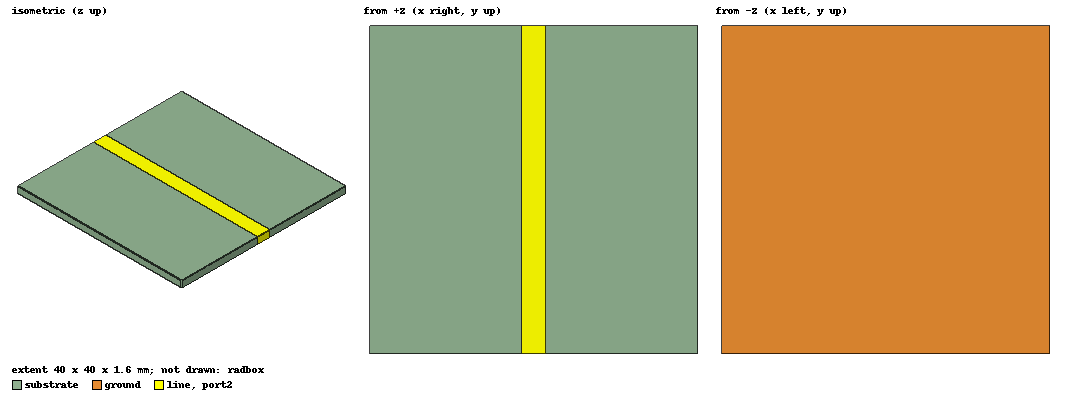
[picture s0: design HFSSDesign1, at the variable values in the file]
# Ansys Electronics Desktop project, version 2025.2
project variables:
  $width = 3mm
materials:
  vacuum: permittivity=1
  FR4_epoxy: permittivity=4.4 dielectric_loss_tangent=0.02
  air: permittivity=1.0006 permeability=1.0000004

design HFSSDesign1 (HFSS, HFSS Terminal Network, model units mm)
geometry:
  ground = rectangle(corner=(-10mm, 0mm, 0mm), x_size=40mm, y_size=40mm)
  substrate [FR4_epoxy] = box(corner=(-10mm, 0mm, 0mm), size=(40mm, 40mm, 1.6mm))
  line = rectangle(corner=(8.5mm, 0mm, 1.6mm), x_size=$width, y_size=40mm)
  port1 = rectangle(corner=(8.5mm, 0mm, 1.6mm), z_size=-1.6mm, x_size=$width)
  port2 = rectangle(corner=(8.5mm, 40mm, 1.6mm), z_size=-1.6mm, x_size=$width)
  radbox [air] = box(corner=(-20mm, -10mm, -20mm), size=(60mm, 60mm, 40mm))
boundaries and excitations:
  PerfE1: Perfect E Objects=[line, ground]
  Rad1: Radiation Objects=radbox
  1: Lumped Port Objects=port1 LumpedPortType=Modal Modes{Mode1{IntLine{(10, 0, 1.6) -> (10, 0, 0)} CharImp=Zpi RenormImp=50ohm}} Impedance=50ohm
  2: Lumped Port Objects=port2 LumpedPortType=Modal Modes{Mode1{IntLine{(10, 40, 1.6) -> (10, 40, 0)} CharImp=Zpi RenormImp=50ohm}} Impedance=300ohm
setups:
  Setup1: HfssDriven Frequency=5GHz MaxDeltaS=0.02 MaximumPasses=6 MinimumPasses=1 MinimumConvergedPasses=1 PercentRefinement=30 BasisOrder=1 PortAccuracy=2 DrivenSolverType="Direct Solver"
    sweep Sweep: 1GHz to 10GHz, 100 points; Type=Discrete SaveFields
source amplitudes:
  1:1: 1W 0deg
  2:1: 0W 0deg
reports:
  Terminal S Parameter Plot1: dB(St(1,1)), dB(St(2,1)), dB(St(1,2)), dB(St(2,2)) vs Freq on Setup1 : Sweep
  Z Parameter Plot1: re(Z(1,1)), im(Z(1,1)) vs Freq on Setup1 : Sweep
  S Parameter Plot1: dB(S(1,1)), dB(S(2,1)), dB(S(1,2)), dB(S(2,2)) vs Freq on Setup1 : Sweep
